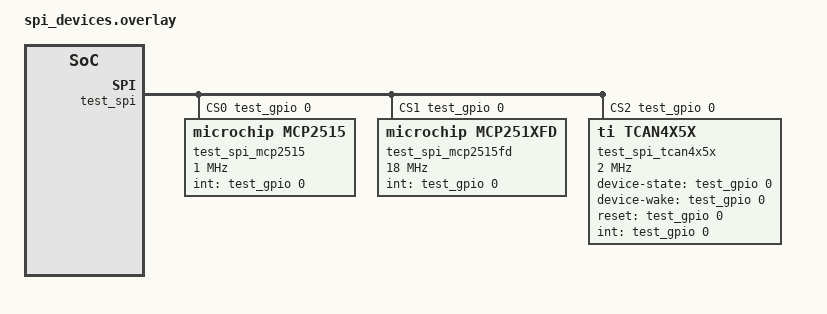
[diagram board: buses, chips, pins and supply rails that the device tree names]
/ {
	test {
		#address-cells = <1>;
		#size-cells = <1>;

		test_gpio: gpio@deadbeef {
			compatible = "vnd,gpio";
			gpio-controller;
			reg = <0xdeadbeef 0x1000>;
			#gpio-cells = <0x2>;
			status = "okay";
		};

		test_spi: spi@33334444 {
			#address-cells = <1>;
			#size-cells = <0>;
			compatible = "vnd,spi";
			reg = <0x33334444 0x1000>;
			status = "okay";

			cs-gpios = <&test_gpio 0 0>,
			<&test_gpio 0 0>,
			<&test_gpio 0 0>;

			test_spi_mcp2515: mcp2515@0 {
				compatible = "microchip,mcp2515";
				reg = <0x0>;
				status = "okay";

				spi-max-frequency = <1000000>;
				int-gpios = <&test_gpio 0 0>;

				osc-freq = <16000000>;
			};

			test_spi_mcp2515fd: mcp2515fd@1 {
				compatible = "microchip,mcp251xfd";
				reg = <0x1>;
				status = "okay";

				spi-max-frequency = <18000000>;
				int-gpios = <&test_gpio 0 0>;

				osc-freq = <40000000>;
			};

			test_spi_tcan4x5x: tcan4x5x@2 {
				compatible = "ti,tcan4x5x";
				reg = <0x2>;
				status = "okay";

				spi-max-frequency = <2000000>;

				clock-frequency = <40000000>;
				device-state-gpios = <&test_gpio 0 0>;
				device-wake-gpios = <&test_gpio 0 0>;
				reset-gpios = <&test_gpio 0 0>;
				int-gpios = <&test_gpio 0 0>;
				bosch,mram-cfg = <0x0 15 15 7 7 0 10 10>;
			};
		};
	};
};
